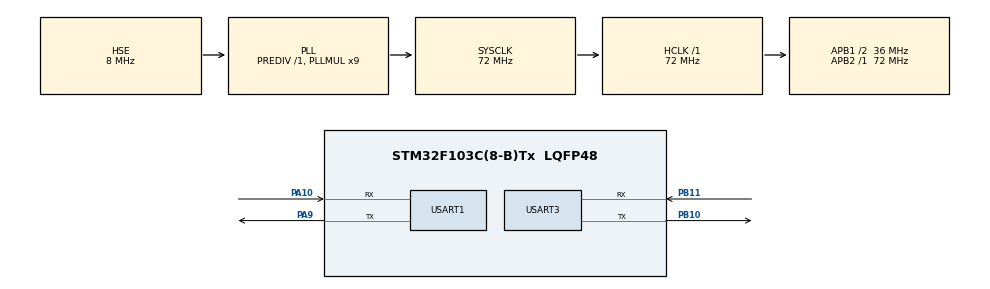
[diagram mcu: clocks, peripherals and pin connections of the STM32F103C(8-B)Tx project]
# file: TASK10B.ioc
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Mcu.Family=STM32F1
Mcu.Name=STM32F103C(8-B)Tx
Mcu.Package=LQFP48
NVIC.PriorityGroup=NVIC_PRIORITYGROUP_4
NVIC.USART1_IRQn=true\:0\:0\:false\:false\:true\:true\:true\:true
NVIC.USART3_IRQn=true\:0\:0\:false\:false\:true\:true\:true\:true
PA10.Mode=Asynchronous
PA10.Signal=USART1_RX
PA13.Mode=Serial_Wire
PA13.Signal=SYS_JTMS-SWDIO
PA14.Mode=Serial_Wire
PA14.Signal=SYS_JTCK-SWCLK
PA9.Mode=Asynchronous
PA9.Signal=USART1_TX
PB10.Mode=Asynchronous
PB10.Signal=USART3_TX
PB11.Mode=Asynchronous
PB11.Signal=USART3_RX
PD0-OSC_IN.Mode=HSE-External-Oscillator
PD0-OSC_IN.Signal=RCC_OSC_IN
PD1-OSC_OUT.Mode=HSE-External-Oscillator
PD1-OSC_OUT.Signal=RCC_OSC_OUT
ProjectManager.HeapSize=0x200
ProjectManager.StackSize=0x400
ProjectManager.TargetToolchain=MDK-ARM V5.32
RCC.AHBFreq_Value=72000000
RCC.APB1CLKDivider=RCC_HCLK_DIV2
RCC.APB1Freq_Value=36000000
RCC.APB1TimFreq_Value=72000000
RCC.APB2Freq_Value=72000000
RCC.APB2TimFreq_Value=72000000
RCC.HCLKFreq_Value=72000000
RCC.PLLMUL=RCC_PLL_MUL9
RCC.PLLSourceVirtual=RCC_PLLSOURCE_HSE
RCC.SYSCLKFreq_VALUE=72000000
RCC.SYSCLKSource=RCC_SYSCLKSOURCE_PLLCLK
RCC.USBFreq_Value=72000000
USART1.VirtualMode=VM_ASYNC
USART3.VirtualMode=VM_ASYNC
board=custom

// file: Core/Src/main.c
/* USER CODE BEGIN Header */
/**
  ******************************************************************************
  * @file           : main.c
  * @brief          : Main program body
  ******************************************************************************
  * @attention
  *
  * Copyright (c) 2026 STMicroelectronics.
  * All rights reserved.
  *
  * This software is licensed under terms that can be found in the LICENSE file
  * in the root directory of this software component.
  * If no LICENSE file comes with this software, it is provided AS-IS.
  *
  ******************************************************************************
  */
/* USER CODE END Header */
#include "main.h"

/* USER CODE BEGIN Includes */
#include <string.h>
#include <stdio.h>
/* USER CODE END Includes */

UART_HandleTypeDef huart1;
UART_HandleTypeDef huart3;

void SystemClock_Config(void);
static void MX_GPIO_Init(void);
static void MX_USART1_UART_Init(void);
static void MX_USART3_UART_Init(void);

/* USER CODE BEGIN PFP */
void send_cmds(char *cmd, uint32_t total_wait_time);
void cmds_10b(void);
/* USER CODE END PFP */

int main(void)
{

  /* MCU Configuration--------------------------------------------------------*/

  /* Reset of all peripherals, Initializes the Flash interface and the Systick. */
  HAL_Init();

  /* Configure the system clock */
  SystemClock_Config();

  /* Initialize all configured peripherals */
  MX_GPIO_Init();
  MX_USART1_UART_Init();
  MX_USART3_UART_Init();
  /* USER CODE BEGIN 2 */
	cmds_10b();
  /* USER CODE END 2 */

  /* Infinite loop */
  while (1)
  {

  }
}

void SystemClock_Config(void)
{
  RCC_OscInitTypeDef RCC_OscInitStruct = {0};
  RCC_ClkInitTypeDef RCC_ClkInitStruct = {0};

  /** Initializes the RCC Oscillators according to the specified parameters
  * in the RCC_OscInitTypeDef structure.
  */
  RCC_OscInitStruct.OscillatorType = RCC_OSCILLATORTYPE_HSE;
  RCC_OscInitStruct.HSEState = RCC_HSE_ON;
  RCC_OscInitStruct.HSEPredivValue = RCC_HSE_PREDIV_DIV1;
  RCC_OscInitStruct.HSIState = RCC_HSI_ON;
  RCC_OscInitStruct.PLL.PLLState = RCC_PLL_ON;
  RCC_OscInitStruct.PLL.PLLSource = RCC_PLLSOURCE_HSE;
  RCC_OscInitStruct.PLL.PLLMUL = RCC_PLL_MUL9;
  if (HAL_RCC_OscConfig(&RCC_OscInitStruct) != HAL_OK)
  {
    Error_Handler();
  }

  /** Initializes the CPU, AHB and APB buses clocks
  */
  RCC_ClkInitStruct.ClockType = RCC_CLOCKTYPE_HCLK|RCC_CLOCKTYPE_SYSCLK
                              |RCC_CLOCKTYPE_PCLK1|RCC_CLOCKTYPE_PCLK2;
  RCC_ClkInitStruct.SYSCLKSource = RCC_SYSCLKSOURCE_PLLCLK;
  RCC_ClkInitStruct.AHBCLKDivider = RCC_SYSCLK_DIV1;
  RCC_ClkInitStruct.APB1CLKDivider = RCC_HCLK_DIV2;
  RCC_ClkInitStruct.APB2CLKDivider = RCC_HCLK_DIV1;

  if (HAL_RCC_ClockConfig(&RCC_ClkInitStruct, FLASH_LATENCY_2) != HAL_OK)
  {
    Error_Handler();
  }
}

static void MX_USART1_UART_Init(void)
{

  huart1.Instance = USART1;
  huart1.Init.BaudRate = 115200;
  huart1.Init.WordLength = UART_WORDLENGTH_8B;
  huart1.Init.StopBits = UART_STOPBITS_1;
  huart1.Init.Parity = UART_PARITY_NONE;
  huart1.Init.Mode = UART_MODE_TX_RX;
  huart1.Init.HwFlowCtl = UART_HWCONTROL_NONE;
  huart1.Init.OverSampling = UART_OVERSAMPLING_16;
  if (HAL_UART_Init(&huart1) != HAL_OK)
  {
    Error_Handler();
  }

}

static void MX_USART3_UART_Init(void)
{

  huart3.Instance = USART3;
  huart3.Init.BaudRate = 115200;
  huart3.Init.WordLength = UART_WORDLENGTH_8B;
  huart3.Init.StopBits = UART_STOPBITS_1;
  huart3.Init.Parity = UART_PARITY_NONE;
  huart3.Init.Mode = UART_MODE_TX_RX;
  huart3.Init.HwFlowCtl = UART_HWCONTROL_NONE;
  huart3.Init.OverSampling = UART_OVERSAMPLING_16;
  if (HAL_UART_Init(&huart3) != HAL_OK)
  {
    Error_Handler();
  }

}

static void MX_GPIO_Init(void)
{

  /* GPIO Ports Clock Enable */
  __HAL_RCC_GPIOD_CLK_ENABLE();
  __HAL_RCC_GPIOB_CLK_ENABLE();
  __HAL_RCC_GPIOA_CLK_ENABLE();

}

/* USER CODE BEGIN 4 */
void send_cmds(char *cmd,uint32_t total_wait_time) {
	char send[100];

	snprintf(send,sizeof(send),"SENDING\r\n : %s",cmd);

	//Send to putty what command you're essentially sending WEMOS via uart1
	HAL_UART_Transmit(&huart3,(uint8_t *)send,strlen(send),HAL_MAX_DELAY);

	//Actually send the command to WEMOS via uart 1 - cmd is what is ACTUALLY being sent
	HAL_UART_Transmit(&huart1,(uint8_t *)cmd	,strlen(cmd),HAL_MAX_DELAY);

	//Receive response from the wifi module now
	uint8_t rx_byte;
	//To handle a bigger stream of data like in the case of CIFSR
	//Have to check what this means completely
	uint32_t overall_start = HAL_GetTick();
	uint32_t last_byte_time = HAL_GetTick();

	//Threshold
//	const uint32_t idle_time = 50;

	while((HAL_GetTick() - overall_start) < total_wait_time){
		//Checking if Data was received by ESP8266 Properly
		if(HAL_UART_Receive(&huart1,&rx_byte,1,10) == HAL_OK) {
			//Transmit to PUTTY
			HAL_UART_Transmit(&huart3,&rx_byte,1,HAL_MAX_DELAY);
			last_byte_time = HAL_GetTick();
		} /*else {
			if((HAL_GetTick() - last_byte_time) > idle_time) {
				//Finished exit early
				break;
			}
		} */
	}
}

void cmds_10b() {
	// Wait for Wemos to complete boot cycle
    HAL_Delay(2000);

    //Check modem response
    send_cmds("AT\r\n", 1000);
    HAL_Delay(1000);

    //Check firmware version
    send_cmds("AT+GMR\r\n", 2000);
    HAL_Delay(1000);

    //Set Wi-Fi station mode (Mode 1 = Station)
    send_cmds("AT+CWMODE=1\r\n", 1000);
    HAL_Delay(1000);

    //Scan available Wi-Fi networks
    send_cmds("AT+CWLAP\r\n", 5000);
    HAL_Delay(1000);

    //Connect to AP
    send_cmds("AT+CWJAP=\"SNUC\",\"snu12345\"\r\n", 10000);

    //Obtain network information
    send_cmds("AT+CIFSR\r\n", 3000);
}
/* USER CODE END 4 */

void Error_Handler(void)
{
  __disable_irq();
  while (1)
  {
  }
}
